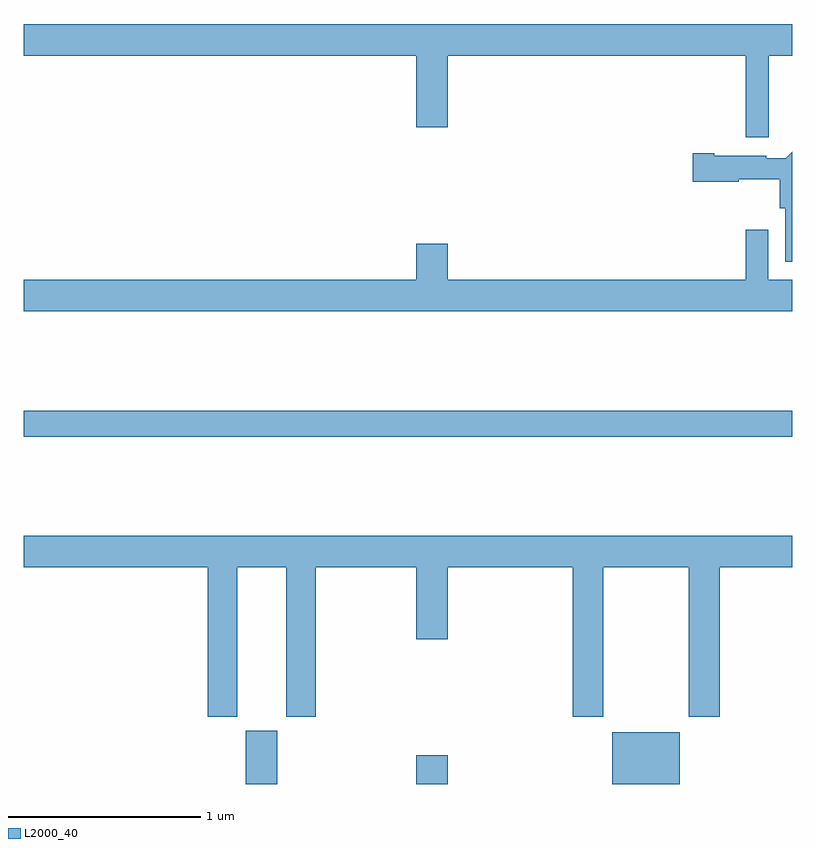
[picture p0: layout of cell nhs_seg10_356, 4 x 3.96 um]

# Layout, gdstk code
import gdstk
lib = gdstk.Library(unit=1e-6, precision=1e-09)
def R(c, l, rs):  # rectangles x0, y0, x1, y1
    for r in rs: c.add(gdstk.rectangle(r[:2], r[2:], *l))
def P(c, l, *ps):  # polygons
    for p in ps: c.add(gdstk.Polygon(p, *l))
L2000_40 = (2000, 40)

nhs_seg10_356 = lib.new_cell('nhs_seg10_356')
R(nhs_seg10_356, L2000_40, [(128.156,1320.5,128.32,1320.777), (129.044,1320.5,129.208,1320.649), (130.064,1320.5,130.414,1320.769), (127,1322.308,131,1322.444)])
P(nhs_seg10_356, L2000_40, [(130.879,1324.292),(131,1324.292),(131,1324.456),(127,1324.456),(127,1324.292),(129.044,1324.292),(129.044,1323.918),(129.208,1323.918),(129.208,1324.292),(130.757,1324.292),(130.757,1323.867),(130.879,1323.867)],
  [(131,1323.792),(130.965,1323.757),(130.866,1323.757),(130.866,1323.769),(130.594,1323.769),(130.594,1323.782),(130.482,1323.782),(130.482,1323.635),(130.722,1323.635),(130.722,1323.647),(130.934,1323.647),(130.934,1323.498),(130.964,1323.498),(130.964,1323.218),(131,1323.218)],
  [(131,1323.124),(130.875,1323.124),(130.875,1323.385),(130.759,1323.385),(130.759,1323.124),(129.208,1323.124),(129.208,1323.313),(129.044,1323.313),(129.044,1323.124),(127,1323.124),(127,1322.96),(131,1322.96)],
  [(128.11,1321.628),(128.366,1321.628),(128.366,1320.849),(128.519,1320.849),(128.519,1321.628),(129.044,1321.628),(129.044,1321.254),(129.208,1321.254),(129.208,1321.628),(129.857,1321.628),(129.857,1320.849),(130.017,1320.849),(130.017,1321.628),(130.462,1321.628),(130.462,1320.849),(130.622,1320.849),(130.622,1321.628),(131,1321.628),(131,1321.792),(127,1321.792),(127,1321.628),(127.958,1321.628),(127.958,1320.849),(128.11,1320.849)])

lib.write_gds('nhs_seg10_356.gds')
